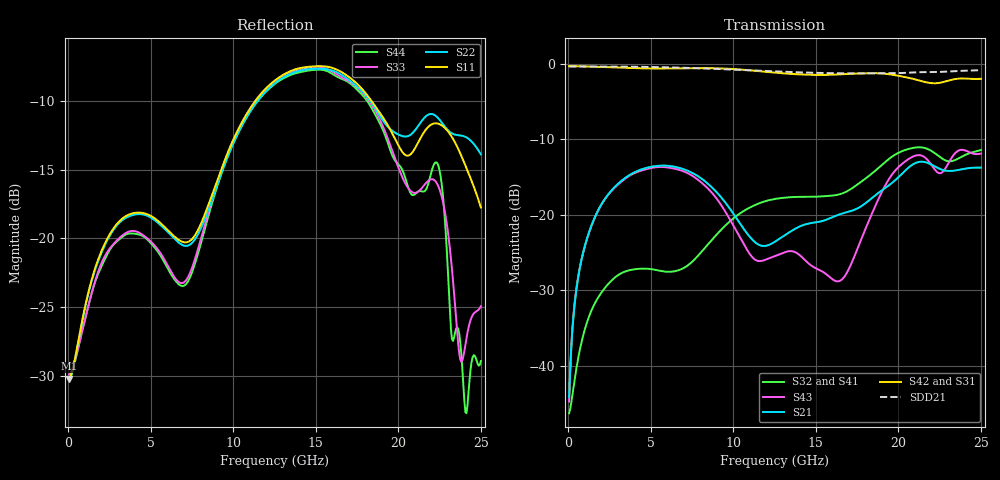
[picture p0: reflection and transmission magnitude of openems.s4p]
! BV_ts_m2_per0_q050f25s_e35_in2gnd: /TS-USB4 Components/M2_PER0_P via F.Cu→In3.Cu at (161.287, 130.742) with its partner – diagnosis: In2 joined to every GND via
! stackup: Thunderscope_Rev5.3 from the board file and its kisi.json
! ports: 1 P in, 2 N in, 3 P out, 4 N out
! openEMS 0.37.0, staircase, fine mesh (dfine 0.025 mm), 1699792 cells
# Hz S RI R 50
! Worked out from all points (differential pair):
!   400 points, 62.5 MHz to 25 GHz, reference 50 ohm
!   strongest paths, dB at 62.5 MHz, 6.312 GHz, 12.56 GHz, 18.81 GHz, 25 GHz:
!     S42: -0.3, -0.6, -1.1, -1.2, -1.9
!     S31: -0.3, -0.6, -1.2, -1.2, -1.8
!     S21: -44.2, -13.6, -23.5, -17.1, -13.7
!     S43: -44.8, -13.8, -25.4, -17.8, -11.9
!     S32: -46.3, -27.5, -17.9, -13.7, -11.4
!     S41: -45.2, -27.4, -17.9, -13.7, -11.6
!   taken as a pair (ports 2,1 in; 4,3 out), SDD21 dB: -0.3, -0.4, -1.0, -1.2, -0.8
!   lowest |S11| = -30.2 dB at 62.5 MHz (marker M1), VSWR 1.06, Z = 47 + j0.326 ohm
!   |S11| at or under -10 dB: start of sweep to 11.36 GHz; 18.37 GHz to end of sweep
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6.25e7  -0.0307 0.00346  0.0049 0.00384  0.9686 -0.0195  0.00506 -0.00127
        0.00483 0.00386  -0.0306 0.00337  0.00487 -0.0012  0.969 -0.0196
        0.9693 -0.0196  0.00469 -0.00116  -0.0318 0.00366  0.00536 0.00367
        0.00532 -0.00131  0.9687 -0.0195  0.00413 0.00404  -0.0305 0.00319
6.875e8  -0.0242 0.0373  0.0147 0.0403  0.9439 -0.2121  0.00079 -0.0122
         0.0148 0.0404  -0.0245 0.0368  0.000821 -0.0124  0.9437 -0.2118
         0.9434 -0.2125  0.00096 -0.0123  -0.0208 0.0362  0.0144 0.0407
         0.000416 -0.0127  0.9437 -0.2121  0.0153 0.0407  -0.0219 0.0358
2.4375e9  0.0363 0.0946  0.102 0.0914  0.6806 -0.667  -0.0303 -0.0173
          0.1021 0.0915  0.0354 0.0936  -0.0302 -0.0175  0.6804 -0.6668
          0.68 -0.6673  -0.0301 -0.0175  0.0563 0.0707  0.0994 0.093
          -0.0307 -0.0176  0.6805 -0.6671  0.1002 0.0925  0.0543 0.0705
9.5625e9  0.0729 0.183  0.0354 -0.1143  -0.9228 -0.1322  -0.0238 0.0817
          0.0355 -0.1139  0.0681 0.1784  -0.0266 0.0813  -0.9235 -0.1329
          -0.9228 -0.1326  -0.0267 0.0815  -0.1148 0.1598  0.0364 -0.0969
          -0.0239 0.0824  -0.9236 -0.1336  0.0361 -0.0968  -0.1093 0.1567
1.58125e10  0.4174 -0.0409  -0.0062 -0.0947  0.1547 0.8309  0.1272 -0.0408
            -0.00605 -0.0943  0.4091 -0.0262  0.1287 -0.0359  0.1584 0.8359
            0.1558 0.8293  0.1287 -0.0362  0.3978 -0.0958  -0.0123 -0.0381
            0.1266 -0.0415  0.159 0.8343  -0.0134 -0.0366  0.3875 -0.1071
1.9875e10  0.1699 -0.1481  -0.1098 0.1319  0.8481 0.0602  0.0181 -0.2396
           -0.1098 0.1327  0.2057 -0.125  0.0321 -0.2518  0.8389 0.0467
           0.8461 0.0608  0.0324 -0.2514  0.0098 -0.1894  0.0469 0.1989
           0.0203 -0.244  0.8405 0.0466  0.0449 0.1952  -0.00147 -0.1894
2.5e10  0.0407 -0.1229  0.1998 0.0492  0.075 -0.8115  -0.2567 0.0531
        0.1995 0.0507  0.0725 -0.1887  -0.2678 0.0322  0.0843 -0.7956
        0.0774 -0.8101  -0.2675 0.0317  -0.0158 -0.0545  0.2407 -0.0894
        -0.2577 0.0522  0.0831 -0.7949  0.241 -0.0826  -0.0263 -0.0243
